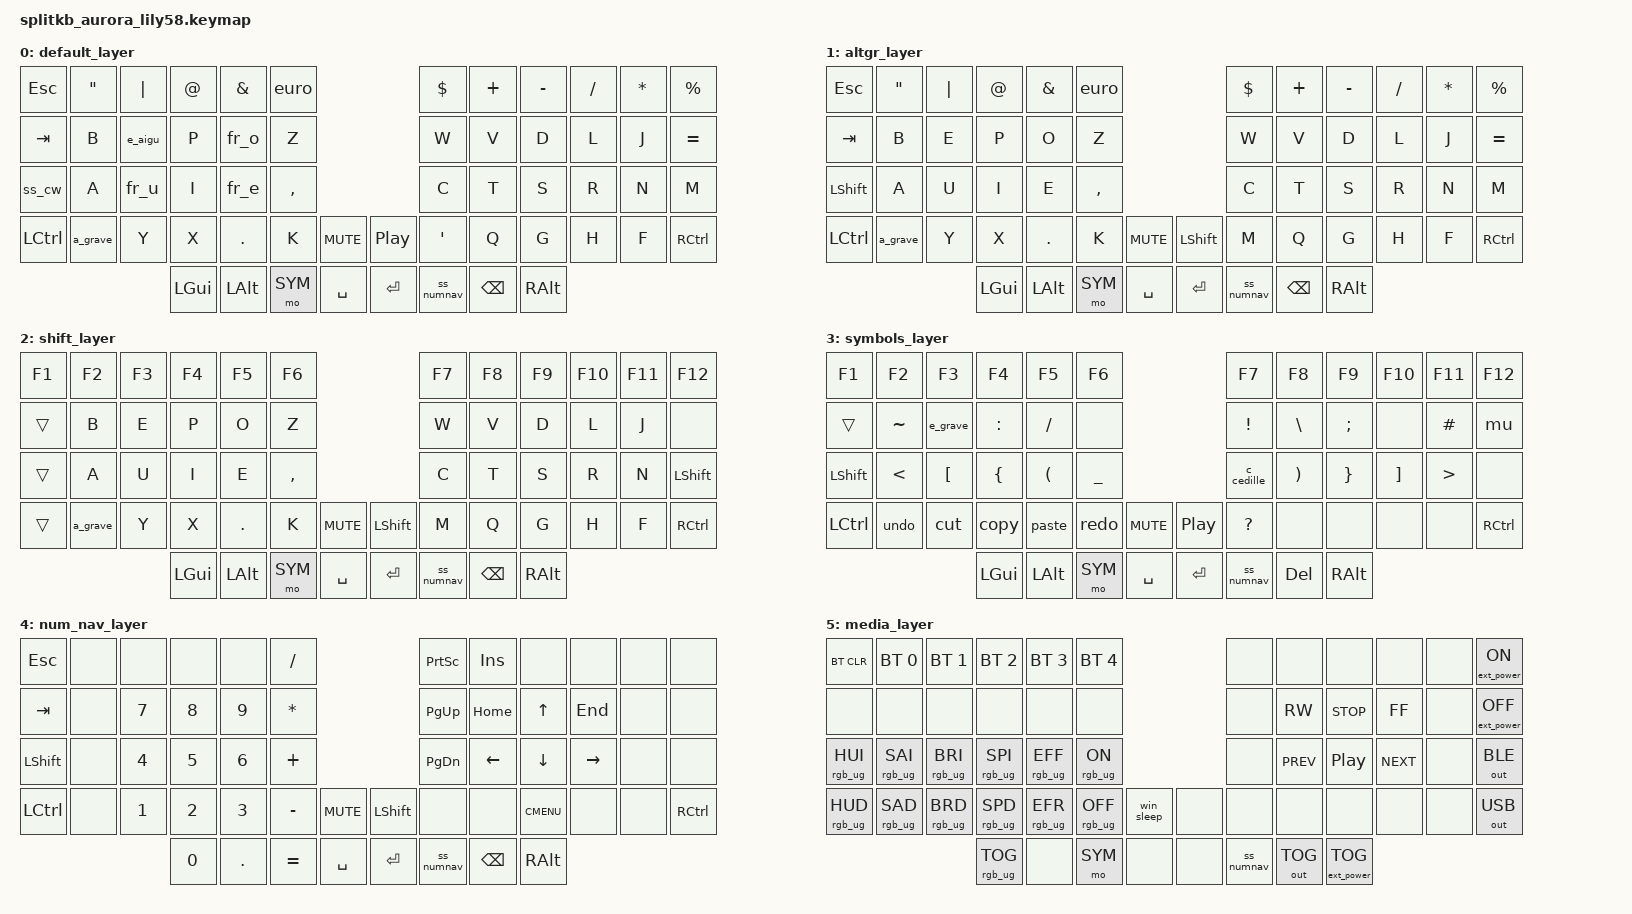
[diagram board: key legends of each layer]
#include <behaviors.dtsi>
#include <dt-bindings/zmk/keys.h>
#include <dt-bindings/zmk/bt.h>
#include <dt-bindings/zmk/outputs.h>
#include <dt-bindings/zmk/ext_power.h>
#include <dt-bindings/zmk/rgb.h>

#include "../zmk-nodefree-config/helper.h"
#include "../zmk-nodefree-config/keypos_def/keypos_58keys.h"

/* layer and key shortcuts */

#define DEF 0  // layer shortcuts, must match order in which they are defined below
#define ALTGR 1
#define SHIFT 2
#define SYM 3
#define NUMNAV 4
#define MEDIA 5

/* custom Keys */
#define CANCEL      &kp K_CANCEL       // cancel caps-word and num-word
#define DSK_PREV    &kp LG(LC(LEFT))   // previous desktop
#define DSK_NEXT    &kp LG(LC(RIGHT))  // next     desktop

/* Settings */
#define QUICK_TAP_MS 175

/* custom behaviors */
ZMK_BEHAVIOR(euro, macro,
     wait-ms = <10>;
     tap-ms = <5>;
     bindings
     = <&macro_press &kp LALT>
     , <&macro_tap &kp KP_N0 &kp KP_N1 &kp KP_N2 &kp KP_N8>
     , <&macro_release &kp LALT>
     ;
)
ZMK_BEHAVIOR(e_aigu, macro,
     wait-ms = <10>;
     tap-ms = <5>;
     bindings
     = <&macro_press &kp LALT>
     , <&macro_tap &kp KP_N1 &kp KP_N3 &kp KP_N0>
     , <&macro_release &kp LALT>
     ;
)
ZMK_BEHAVIOR(e_grave, macro,
     wait-ms = <10>;
     tap-ms = <5>;
     bindings
     = <&macro_press &kp LALT>
     , <&macro_tap &kp KP_N1 &kp KP_N3 &kp KP_N8>
     , <&macro_release &kp LALT>
     ;
)
ZMK_BEHAVIOR(e_circonflex, macro,
     wait-ms = <10>;
     tap-ms = <5>;
     bindings
     = <&macro_press &kp LALT>
     , <&macro_tap &kp KP_N1 &kp KP_N3 &kp KP_N6>
     , <&macro_release &kp LALT>
     ;
)
ZMK_BEHAVIOR(o_circonflex, macro,
     wait-ms = <10>;
     tap-ms = <5>;
     bindings
     = <&macro_press &kp LALT>
     , <&macro_tap &kp KP_N1 &kp KP_N4 &kp KP_N7>
     , <&macro_release &kp LALT>
     ;
)
ZMK_BEHAVIOR(a_grave, macro,
     wait-ms = <10>;
     tap-ms = <5>;
     bindings
     = <&macro_press &kp LALT>
     , <&macro_tap &kp KP_N1 &kp KP_N3 &kp KP_N3>
     , <&macro_release &kp LALT>
     ;
)
ZMK_BEHAVIOR(c_cedille, macro,
     wait-ms = <10>;
     tap-ms = <5>;
     bindings
     = <&macro_press &kp LALT>
     , <&macro_tap &kp KP_N1 &kp KP_N3 &kp KP_N5>
     , <&macro_release &kp LALT>
     ;
)
ZMK_BEHAVIOR(u_grave, macro,
     wait-ms = <10>;
     tap-ms = <5>;
     bindings
     = <&macro_press &kp LALT>
     , <&macro_tap &kp KP_N1 &kp KP_N5 &kp KP_N1>
     , <&macro_release &kp LALT>
     ;
)
ZMK_BEHAVIOR(mu, macro,
     wait-ms = <10>;
     tap-ms = <5>;
     bindings
     = <&macro_press &kp LALT>
     , <&macro_tap &kp KP_N0 &kp KP_N1 &kp KP_N8 &kp KP_N1>
     , <&macro_release &kp LALT>
     ;
)

// Windows
ZMK_BEHAVIOR(win_sleep, macro,
    wait-ms = <100>;
    tap-ms = <5>;
    bindings = <&kp LG(X) &kp U &kp S>;
)

ZMK_BEHAVIOR(undo, macro,
    wait-ms = <100>;
    tap-ms = <5>;
    bindings = <&kp LC(Z)>;
)
ZMK_BEHAVIOR(redo, macro,
    wait-ms = <100>;
    tap-ms = <5>;
    bindings = <&kp LC(Y)>;
)
ZMK_BEHAVIOR(cut, macro,
    wait-ms = <100>;
    tap-ms = <5>;
    bindings = <&kp LC(X)>;
)
ZMK_BEHAVIOR(copy, macro,
    wait-ms = <100>;
    tap-ms = <5>;
    bindings = <&kp LC(C)>;
)
ZMK_BEHAVIOR(paste, macro,
    wait-ms = <100>;
    tap-ms = <5>;
    bindings = <&kp LC(V)>;
)

ZMK_BEHAVIOR(ss_cw, tap_dance,
    tapping-term-ms = <200>;
    bindings = <&sk LSHFT>, <&caps_word>, <CANCEL>;
)

// tap: e | double-tap: ê | hold: num-layer
ZMK_BEHAVIOR(fr_e, tap_dance,
    tapping-term-ms = <200>;
    bindings = <&kp E>, <&e_circonflex>;
)

// tap: o | double-tap: ô | hold: num-layer
ZMK_BEHAVIOR(fr_o, tap_dance,
    tapping-term-ms = <200>;
    bindings = <&kp O>, <&o_circonflex>;
)

// tap: u | double-tap: ù | hold: num-layer
ZMK_BEHAVIOR(fr_u, tap_dance,
    tapping-term-ms = <200>;
    bindings = <&kp U>, <&u_grave>;
)

/* Combo */
#undef COMBO_TERM
#define COMBO_TERM 50
ZMK_COMBO(toggle_media_layer, &tog MEDIA, LH1 RH1, ALL)


ZMK_BEHAVIOR(ss_numnav, tap_dance,
    tapping-term-ms = <200>;
    bindings = <&mo NUMNAV>, <&tog NUMNAV>;
)

&led_strip {
    chain-length = <34>;
};

/* keymap */


ZMK_LAYER(default_layer,
     // ╭──────────────────┬──────────────────┬──────────────────┬──────────────────┬──────────────────┬──────────────────╮                                             ╭──────────────────┬──────────────────┬──────────────────┬──────────────────┬──────────────────┬──────────────────╮
          &kp ESC            &kp DQT            &kp PIPE           &kp AT             &kp AMPS           &euro                                                            &kp DOLLAR         &kp PLUS           &kp MINUS          &kp FSLH           &kp STAR           &kp PERCENT
     // ├──────────────────┼──────────────────┼──────────────────┼──────────────────┼──────────────────┼──────────────────┤                                             ├──────────────────┼──────────────────┼──────────────────┼──────────────────┼──────────────────┼──────────────────┤
          &kp TAB            &kp B              &e_aigu            &kp P              &fr_o              &kp Z                                                            &kp W              &kp V              &kp D              &kp L              &kp J              &kp EQUAL
     // ├──────────────────┼──────────────────┼──────────────────┼──────────────────┼──────────────────┼──────────────────┤                                             ├──────────────────┼──────────────────┼──────────────────┼──────────────────┼──────────────────┼──────────────────┤
          &ss_cw             &kp A              &fr_u              &kp I              &fr_e              &kp COMMA                                                        &kp C              &kp T              &kp S              &kp R              &kp N              &kp M
     // ├──────────────────┼──────────────────┼──────────────────┼──────────────────┼──────────────────┼──────────────────┤ ╭──────────────────╮   ╭──────────────────╮ ├──────────────────┼──────────────────┼──────────────────┼──────────────────┼──────────────────┼──────────────────┤
          &kp LCTRL          &a_grave           &kp Y              &kp X              &kp DOT            &kp K                &kp C_MUTE             &kp C_PLAY_PAUSE     &kp SINGLE_QUOTE   &kp Q              &kp G              &kp H              &kp F              &kp RCTRL
     // ╰──────────────────┴──────────────────┴──────────────────┼──────────────────┼──────────────────┼──────────────────┤ ├──────────────────┤   ├──────────────────┤ ├──────────────────┼──────────────────┼──────────────────┼──────────────────┴──────────────────┴──────────────────╯
                                                                   &kp LGUI           &kp LALT           &mo SYM              &kp SPACE              &kp RET              &ss_numnav         &kp BACKSPACE      &kp RALT
     //                                                          ╰──────────────────┴──────────────────┴──────────────────╯ ╰──────────────────╯   ╰──────────────────╯ ╰──────────────────┴──────────────────┴──────────────────╯
     , &inc_dec_kp C_VOL_DN C_VOL_UP
)


 ZMK_LAYER(altgr_layer,
      // ╭──────────────────┬──────────────────┬──────────────────┬──────────────────┬──────────────────┬──────────────────╮                                             ╭──────────────────┬──────────────────┬──────────────────┬──────────────────┬──────────────────┬──────────────────╮
           &kp ESC            &kp DQT            &kp PIPE           &kp AT             &kp AMPS           &euro                                                            &kp DOLLAR         &kp PLUS           &kp MINUS          &kp SLASH          &kp STAR           &kp PERCENT
      // ├──────────────────┼──────────────────┼──────────────────┼──────────────────┼──────────────────┼──────────────────┤                                             ├──────────────────┼──────────────────┼──────────────────┼──────────────────┼──────────────────┼──────────────────┤
           &kp TAB            &kp B              &kp E              &kp P              &kp O              &kp Z                                                            &kp W              &kp V              &kp D              &kp L              &kp J              &kp EQUAL
      // ├──────────────────┼──────────────────┼──────────────────┼──────────────────┼──────────────────┼──────────────────┤                                             ├──────────────────┼──────────────────┼──────────────────┼──────────────────┼──────────────────┼──────────────────┤
           &kp LSHIFT         &kp A              &kp U              &kp I              &kp E              &kp COMMA                                                        &kp C              &kp T              &kp S              &kp R              &kp N              &kp M
      // ├──────────────────┼──────────────────┼──────────────────┼──────────────────┼──────────────────┼──────────────────┤ ╭──────────────────╮   ╭──────────────────╮ ├──────────────────┼──────────────────┼──────────────────┼──────────────────┼──────────────────┼──────────────────┤
           &kp LCTRL          &a_grave           &kp Y              &kp X              &kp DOT            &kp K                &kp C_MUTE             &kp LSHIFT           &kp M              &kp Q              &kp G              &kp H              &kp F              &kp RCTRL
      // ╰──────────────────┴──────────────────┴──────────────────┼──────────────────┼──────────────────┼──────────────────┤ ├──────────────────┤   ├──────────────────┤ ├──────────────────┼──────────────────┼──────────────────┼──────────────────┴──────────────────┴──────────────────╯
                                                                    &kp LGUI           &kp LALT           &mo SYM              &kp SPACE              &kp RET              &ss_numnav         &kp BACKSPACE      &kp RALT
      //                                                          ╰──────────────────┴──────────────────┴──────────────────╯ ╰──────────────────╯   ╰──────────────────╯ ╰──────────────────┴──────────────────┴──────────────────╯
      , &inc_dec_kp C_VOL_DN C_VOL_UP
 )


 ZMK_LAYER(shift_layer,
      // ╭──────────────────┬──────────────────┬──────────────────┬──────────────────┬──────────────────┬──────────────────╮                                             ╭──────────────────┬──────────────────┬──────────────────┬──────────────────┬──────────────────┬──────────────────╮
           &kp F1             &kp F2             &kp F3             &kp F4             &kp F5             &kp F6                                                           &kp F7             &kp F8             &kp F9             &kp F10            &kp F11            &kp F12
      // ├──────────────────┼──────────────────┼──────────────────┼──────────────────┼──────────────────┼──────────────────┤                                             ├──────────────────┼──────────────────┼──────────────────┼──────────────────┼──────────────────┼──────────────────┤
           &trans             &kp B              &kp E              &kp P              &kp O              &kp Z                                                            &kp W              &kp V              &kp D              &kp L              &kp J              &none
      // ├──────────────────┼──────────────────┼──────────────────┼──────────────────┼──────────────────┼──────────────────┤                                             ├──────────────────┼──────────────────┼──────────────────┼──────────────────┼──────────────────┼──────────────────┤
           &trans             &kp A              &kp U              &kp I              &kp E              &kp COMMA                                                        &kp C              &kp T              &kp S              &kp R              &kp N              &kp LSHIFT
      // ├──────────────────┼──────────────────┼──────────────────┼──────────────────┼──────────────────┼──────────────────┤ ╭──────────────────╮   ╭──────────────────╮ ├──────────────────┼──────────────────┼──────────────────┼──────────────────┼──────────────────┼──────────────────┤
           &trans             &a_grave           &kp Y              &kp X              &kp DOT            &kp K                &kp C_MUTE             &kp LSHIFT           &kp M              &kp Q              &kp G              &kp H              &kp F              &kp RCTRL
      // ╰──────────────────┴──────────────────┴──────────────────┼──────────────────┼──────────────────┼──────────────────┤ ├──────────────────┤   ├──────────────────┤ ├──────────────────┼──────────────────┼──────────────────┼──────────────────┴──────────────────┴──────────────────╯
                                                                    &kp LGUI           &kp LALT           &mo SYM              &kp SPACE              &kp RET              &ss_numnav         &kp BACKSPACE      &kp RALT
      //                                                          ╰──────────────────┴──────────────────┴──────────────────╯ ╰──────────────────╯   ╰──────────────────╯ ╰──────────────────┴──────────────────┴──────────────────╯
      , &inc_dec_kp C_VOL_DN C_VOL_UP
)


ZMK_LAYER(symbols_layer,
     // ╭──────────────────┬──────────────────┬──────────────────┬──────────────────┬──────────────────┬──────────────────╮                                             ╭──────────────────┬──────────────────┬──────────────────┬──────────────────┬──────────────────┬──────────────────╮
          &kp F1             &kp F2             &kp F3             &kp F4             &kp F5             &kp F6                                                           &kp F7             &kp F8             &kp F9             &kp F10            &kp F11            &kp F12
     // ├──────────────────┼──────────────────┼──────────────────┼──────────────────┼──────────────────┼──────────────────┤                                             ├──────────────────┼──────────────────┼──────────────────┼──────────────────┼──────────────────┼──────────────────┤
          &trans             &kp TILDE          &e_grave           &kp COLON          &kp SLASH          &none                                                            &kp EXCLAMATION    &kp BACKSLASH      &kp SEMICOLON      &none              &kp HASH           &mu
     // ├──────────────────┼──────────────────┼──────────────────┼──────────────────┼──────────────────┼──────────────────┤                                             ├──────────────────┼──────────────────┼──────────────────┼──────────────────┼──────────────────┼──────────────────┤
          &kp LSHFT          &kp LESS_THAN      &kp LBKT           &kp LBRC           &kp LPAR           &kp UNDERSCORE                                                   &c_cedille         &kp RPAR           &kp RBRC           &kp RBKT           &kp GREATER_THAN   &none
     // ├──────────────────┼──────────────────┼──────────────────┼──────────────────┼──────────────────┼──────────────────┤ ╭──────────────────╮   ╭──────────────────╮ ├──────────────────┼──────────────────┼──────────────────┼──────────────────┼──────────────────┼──────────────────┤
          &kp LCTRL          &undo              &cut               &copy              &paste             &redo                &kp C_MUTE             &kp C_PLAY_PAUSE     &kp QMARK          &none              &none              &none              &none              &kp RCTRL
     // ╰──────────────────┴──────────────────┴──────────────────┼──────────────────┼──────────────────┼──────────────────┤ ├──────────────────┤   ├──────────────────┤ ├──────────────────┼──────────────────┼──────────────────┼──────────────────┴──────────────────┴──────────────────╯
                                                                   &kp LGUI           &kp LALT           &mo SYM              &kp SPACE              &kp RET              &ss_numnav         &kp DEL            &kp RALT
     //                                                          ╰──────────────────┴──────────────────┴──────────────────╯ ╰──────────────────╯   ╰──────────────────╯ ╰──────────────────┴──────────────────┴──────────────────╯
     , &inc_dec_kp C_VOL_DN C_VOL_UP
)


ZMK_LAYER(num_nav_layer,
     // ╭──────────────────┬──────────────────┬──────────────────┬──────────────────┬──────────────────┬──────────────────╮                                             ╭──────────────────┬──────────────────┬──────────────────┬──────────────────┬──────────────────┬──────────────────╮
          &kp ESC            &none              &none              &none              &none              &kp SLASH                                                        &kp PSCRN          &kp INS            &none              &none              &none              &none
     // ├──────────────────┼──────────────────┼──────────────────┼──────────────────┼──────────────────┼──────────────────┤                                             ├──────────────────┼──────────────────┼──────────────────┼──────────────────┼──────────────────┼──────────────────┤
          &kp TAB            &none              &kp N7             &kp N8             &kp N9             &kp ASTERISK                                                     &kp PG_UP          &kp HOME           &kp UP             &kp END            &none              &none
     // ├──────────────────┼──────────────────┼──────────────────┼──────────────────┼──────────────────┼──────────────────┤                                             ├──────────────────┼──────────────────┼──────────────────┼──────────────────┼──────────────────┼──────────────────┤
          &kp LSHFT          &none              &kp N4             &kp N5             &kp N6             &kp PLUS                                                         &kp PG_DN          &kp LEFT           &kp DOWN           &kp RIGHT          &none              &none
     // ├──────────────────┼──────────────────┼──────────────────┼──────────────────┼──────────────────┼──────────────────┤ ╭──────────────────╮   ╭──────────────────╮ ├──────────────────┼──────────────────┼──────────────────┼──────────────────┼──────────────────┼──────────────────┤
          &kp LCTRL          &none              &kp N1             &kp N2             &kp N3             &kp MINUS            &kp C_MUTE             &kp LSHIFT           &none              &none              &kp K_CMENU        &none              &none              &kp RCTRL
     // ╰──────────────────┴──────────────────┴──────────────────┼──────────────────┼──────────────────┼──────────────────┤ ├──────────────────┤   ├──────────────────┤ ├──────────────────┼──────────────────┼──────────────────┼──────────────────┴──────────────────┴──────────────────╯
                                                                   &kp N0             &kp DOT            &kp EQUAL            &kp SPACE              &kp RET              &ss_numnav         &kp BACKSPACE      &kp RALT
     //                                                          ╰──────────────────┴──────────────────┴──────────────────╯ ╰──────────────────╯   ╰──────────────────╯ ╰──────────────────┴──────────────────┴──────────────────╯
     , &inc_dec_kp C_VOL_DN C_VOL_UP
)


ZMK_LAYER(media_layer,
     // ╭──────────────────┬──────────────────┬──────────────────┬──────────────────┬──────────────────┬──────────────────╮                                             ╭──────────────────┬──────────────────┬──────────────────┬──────────────────┬──────────────────┬──────────────────╮
          &bt BT_CLR         &bt BT_SEL 0       &bt BT_SEL 1       &bt BT_SEL 2       &bt BT_SEL 3       &bt BT_SEL 4                                                     &none              &none              &none              &none              &none              &ext_power EP_ON
     // ├──────────────────┼──────────────────┼──────────────────┼──────────────────┼──────────────────┼──────────────────┤                                             ├──────────────────┼──────────────────┼──────────────────┼──────────────────┼──────────────────┼──────────────────┤
          &none              &none              &none              &none              &none              &none                                                            &none              &kp C_RW           &kp C_STOP         &kp C_FF           &none              &ext_power EP_OFF
     // ├──────────────────┼──────────────────┼──────────────────┼──────────────────┼──────────────────┼──────────────────┤                                             ├──────────────────┼──────────────────┼──────────────────┼──────────────────┼──────────────────┼──────────────────┤
          &rgb_ug RGB_HUI    &rgb_ug RGB_SAI    &rgb_ug RGB_BRI    &rgb_ug RGB_SPI    &rgb_ug RGB_EFF    &rgb_ug RGB_ON                                                   &none              &kp C_PREV         &kp C_PLAY_PAUSE   &kp C_NEXT         &none              &out OUT_BLE
     // ├──────────────────┼──────────────────┼──────────────────┼──────────────────┼──────────────────┼──────────────────┤ ╭──────────────────╮   ╭──────────────────╮ ├──────────────────┼──────────────────┼──────────────────┼──────────────────┼──────────────────┼──────────────────┤
          &rgb_ug RGB_HUD    &rgb_ug RGB_SAD    &rgb_ug RGB_BRD    &rgb_ug RGB_SPD    &rgb_ug RGB_EFR    &rgb_ug RGB_OFF      &win_sleep             &none                &none              &none              &none              &none              &none              &out OUT_USB
     // ╰──────────────────┴──────────────────┴──────────────────┼──────────────────┼──────────────────┼──────────────────┤ ├──────────────────┤   ├──────────────────┤ ├──────────────────┼──────────────────┼──────────────────┼──────────────────┴──────────────────┴──────────────────╯
                                                                   &rgb_ug RGB_TOG    &none              &mo SYM              &none                  &none                &ss_numnav         &out OUT_TOG       &ext_power EP_TOG
     //                                                          ╰──────────────────┴──────────────────┴──────────────────╯ ╰──────────────────╯   ╰──────────────────╯ ╰──────────────────┴──────────────────┴──────────────────╯
     , &inc_dec_kp C_BRI_DN C_BRI_UP
)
